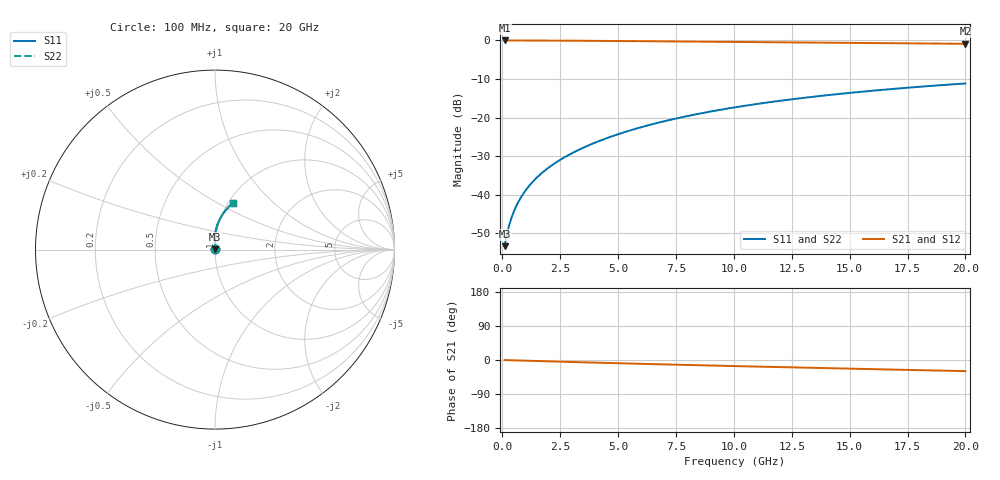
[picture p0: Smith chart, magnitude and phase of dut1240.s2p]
! Touchstone file exported from HFSS 2024.1.0
!  File:  C:/UserFiles/LocalFiles/RDL_TSV_Batchsim/temp_RDL_top_1240_1780240974.aedt
!  Generated:  11:25:15 PM May 31, 2026
!  Design:  RDL_top
!  Project:  temp_RDL_top_1240_1780240974
!  Setup:  Setup1
!  Solution:  Sweep
! Variables:
!  dtsv = 10.80580581um
!  hbump = 3um
!  htsv = 83.55um
!  ldown = 100um
!  lrdl = 386.1um
!  p = 40
!  p1 = 58.78um
!  rhole = 1um
!  t = 450um
!  tdown = 3.915915916um
!  trdl = 3.24um
!  wdown = 15.38538539um
!  wrdl = 28.6um
# GHz S MA R 50.000000
! Terminal data exported
! Port[1] = Box2_T1
! Port[2] = Box2_T2
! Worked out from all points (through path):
!   200 points, 100 MHz to 20 GHz, reference 50 ohm
!   highest |S21| = -0.02 dB at 100 MHz (marker M1); lowest = -0.9 dB at 20 GHz (marker M2)
!   group delay of S21, straight-line fit = 4.01 ps
!   lowest |S11| = -53.4 dB at 100 MHz (marker M3), VSWR 1.00, Z = 50.2 + j0.125 ohm
!   |S11| at or under -10 dB: start of sweep to end of sweep
!   |S22| runs from -53.4 to -11.2 dB; largest |S21 - S12| = 5.4e-15
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0.1  0.002147 35.4  0.9982 -0.2  0.9982 -0.2  0.002147 35.4
! Gamma 0 0 0 0
! Port Impedance 50 0 50 0
0.2  0.003047 52.7  0.9981 -0.4  0.9981 -0.4  0.003047 52.7
0.3  0.004037 61.4  0.998 -0.6  0.998 -0.6  0.004037 61.4
0.4  0.005041 66.7  0.9978 -0.7  0.9978 -0.7  0.005041 66.7
0.5  0.006052 70.4  0.9977 -0.9  0.9977 -0.9  0.006053 70.4
0.6  0.007075 73.3  0.9976 -1.1  0.9976 -1.1  0.007075 73.3
0.8  0.009154 77.3  0.9973 -1.4  0.9973 -1.4  0.009154 77.3
1.1  0.01235 81.1  0.9968 -2.0  0.9968 -2.0  0.01235 81.2
1.3  0.01453 82.9  0.9964 -2.3  0.9964 -2.3  0.01453 82.9
1.6  0.01785 84.9  0.9958 -2.9  0.9958 -2.9  0.01785 84.9
2.1  0.02356 87.1  0.9944 -3.7  0.9944 -3.7  0.02356 87.1
2.7  0.03067 88.7  0.9924 -4.8  0.9924 -4.8  0.03067 88.7
3.5  0.04063 89.9  0.9892 -6.1  0.9892 -6.1  0.04064 90.0
4.2  0.04979 90.4  0.986 -7.3  0.986 -7.3  0.0498 90.4
5  0.0607 90.4  0.9821 -8.6  0.9821 -8.6  0.06072 90.5
6.8  0.08662 89.2  0.9725 -11.3  0.9725 -11.3  0.08664 89.2
8.4  0.1106 87.3  0.9638 -13.7  0.9638 -13.7  0.1106 87.3
10.1  0.1363 84.8  0.9547 -16.1  0.9547 -16.1  0.1364 84.8
11.7  0.1604 82.2  0.9463 -18.4  0.9463 -18.4  0.1605 82.2
13.4  0.1856 79.5  0.9375 -20.7  0.9375 -20.7  0.1856 79.5
16.7  0.2325 74.2  0.9205 -25.1  0.9205 -25.1  0.2326 74.2
20  0.2764 69.2  0.9034 -29.3  0.9034 -29.3  0.2765 69.2
